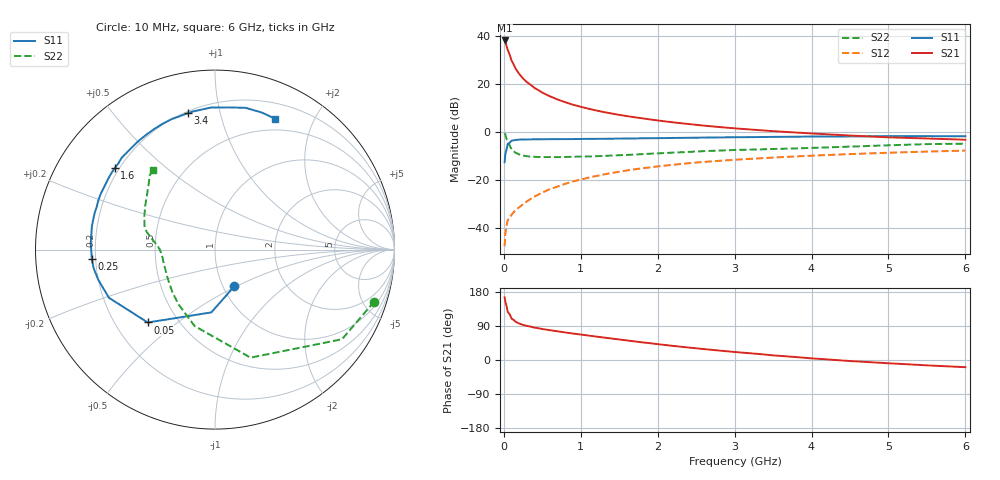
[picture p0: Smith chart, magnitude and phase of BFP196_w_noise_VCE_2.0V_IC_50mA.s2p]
! (c) 2017  Infineon Technologies AG, Munich
! Infineon Technologies  Discrete & RF Semiconductors
! BFP196
! VCE =  2.0 V,  IC =  50 mA
! Common Emitter S-Parameters:  Jan 2017
# GHz  S  MA  R  50
!  f  S11  S21  S12  S22
! GHz  MAG  ANG  MAG  ANG  MAG  ANG  MAG  ANG
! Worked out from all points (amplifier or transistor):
!   77 points, 10 MHz to 6 GHz, reference 50 ohm
!   highest |S21| = 38.0 dB at 10 MHz (marker M1)
!   |S21| within 3 dB of that: start of sweep to 41.6 MHz
!   unconditionally stable (mu >= 1): 489.2 MHz to 2.522 GHz
!   at 130 MHz: K = 0.66, MSG = 30.7 dB, |S12| = -33.5 dB
!   at 2.2 GHz: K = 1.01, MAG = 8.2 dB, |S12| = -13.8 dB
!   at 6 GHz: K = 0.97, MSG = 2.3 dB, |S12| = -7.9 dB
!   lowest NFmin = 1.45 dB at 450 MHz
!   S11 on the Smith chart (normalised r, x): 10 MHz: 1.13, -0.49; 50 MHz: 0.34, -0.40; 250 MHz: 0.18, -0.04; 1.6 GHz: 0.18, +0.35; 3.4 GHz: 0.21, +0.80; 6 GHz: 0.36, +1.50
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0.01  0.2309 -62.0  79.76 165.6  0.0041 81.9  0.9331 -18.1
0.02  0.3505 -93.4  74.59 152.8  0.0077 69.9  0.8661 -35.2
0.05  0.5525 -132.7  51.16 127.2  0.0141 53.5  0.6338 -71.8
0.1  0.6488 -155.5  30.37 109.3  0.0184 53.7  0.4408 -104.9
0.15  0.6719 -165.6  21.02 101.3  0.0229 55.3  0.3671 -123.5
0.2  0.6837 -171.2  15.99 96.2  0.0266 58.0  0.3351 -135.3
0.25  0.6884 -175.5  12.87 92.6  0.0308 59.9  0.317 -143.3
0.3  0.6887 -178.3  10.77 90.0  0.0352 62.2  0.3074 -149.6
0.4  0.6936 176.9  8.138 85.4  0.0444 65.3  0.2984 -157.6
0.5  0.6945 172.8  6.517 81.8  0.0536 66.1  0.2954 -163.2
0.6  0.6979 169.3  5.458 78.6  0.0636 66.4  0.2955 -167.3
0.7  0.6989 166.3  4.681 75.7  0.0719 66.7  0.2949 -170.4
0.9  0.7008 160.0  3.648 69.8  0.0916 65.3  0.2998 -174.9
1.1  0.7083 154.4  3.014 64.5  0.1097 63.4  0.3052 -178.5
1.3  0.7108 148.8  2.564 59.3  0.1282 60.9  0.3124 178.6
1.6  0.7199 140.8  2.111 51.6  0.1553 57.2  0.3273 175.0
2.1  0.7356 127.9  1.637 39.6  0.1961 50.0  0.3592 169.8
3.1  0.7672 106.6  1.142 19.5  0.2649 36.0  0.4188 159.9
3.4  0.775 101.2  1.053 14.2  0.2826 32.3  0.4308 156.1
4.1  0.7918 90.0  0.9 3.0  0.3207 23.6  0.4642 146.4
5.1  0.807 76.5  0.753 -9.7  0.3678 11.9  0.5262 134.4
6  0.8026 65.4  0.68 -19.0  0.4034 2.0  0.5616 128.0
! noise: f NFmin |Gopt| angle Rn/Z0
0.45  1.45  0.4  -176  0.06
0.9  1.6  0.47  -164  0.08
1.9  2.42  0.68  -132  0.32
2.4  2.82  0.7  -119  0.66
